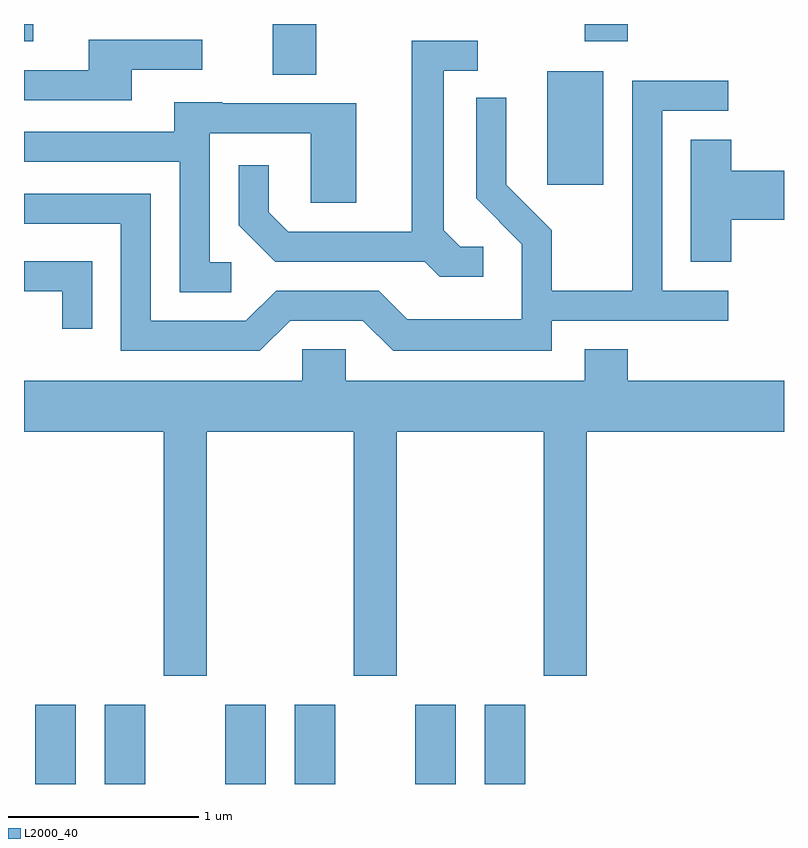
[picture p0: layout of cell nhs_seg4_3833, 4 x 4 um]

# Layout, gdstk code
import gdstk
lib = gdstk.Library(unit=1e-6, precision=1e-09)
def R(c, l, rs):  # rectangles x0, y0, x1, y1
    for r in rs: c.add(gdstk.rectangle(r[:2], r[2:], *l))
def P(c, l, *ps):  # polygons
    for p in ps: c.add(gdstk.Polygon(p, *l))
L2000_40 = (2000, 40)

nhs_seg4_3833 = lib.new_cell('nhs_seg4_3833')
R(nhs_seg4_3833, L2000_40, [(297.671,1303.982,297.884,1304.399), (298.036,1303.982,298.249,1304.399), (298.671,1303.982,298.884,1304.399), (299.036,1303.982,299.249,1304.399), (299.671,1303.982,299.884,1304.399), (300.036,1303.982,300.249,1304.399), (300.366,1307.136,300.659,1307.734), (298.921,1307.716,299.149,1307.982), (297.611,1307.891,297.659,1307.982), (300.561,1307.891,300.789,1307.982)])
P(nhs_seg4_3833, L2000_40, [(298.179,1307.741),(298.548,1307.741),(298.548,1307.899),(297.951,1307.899),(297.951,1307.739),(297.611,1307.739),(297.611,1307.581),(298.179,1307.581)],
  [(300.028,1306.809),(299.907,1306.809),(299.819,1306.897),(299.819,1307.736),(299.998,1307.736),(299.998,1307.894),(299.651,1307.894),(299.651,1306.889),(299.002,1306.889),(298.899,1306.992),(298.899,1307.238),(298.741,1307.238),(298.741,1306.924),(298.934,1306.731),(299.719,1306.731),(299.799,1306.651),(300.028,1306.651)],
  [(299.012,1306.421),(299.394,1306.421),(299.554,1306.261),(300.389,1306.261),(300.389,1306.421),(301.318,1306.421),(301.318,1306.579),(300.969,1306.579),(300.969,1307.526),(301.318,1307.526),(301.318,1307.684),(300.811,1307.684),(300.811,1306.579),(300.389,1306.579),(300.389,1306.897),(300.149,1307.137),(300.149,1307.593),(299.991,1307.593),(299.991,1307.064),(300.231,1306.824),(300.231,1306.429),(299.627,1306.429),(299.477,1306.579),(298.939,1306.579),(298.779,1306.419),(298.279,1306.419),(298.279,1307.089),(297.611,1307.089),(297.611,1306.931),(298.121,1306.931),(298.121,1306.261),(298.852,1306.261)],
  [(298.703,1306.729),(298.589,1306.729),(298.589,1307.406),(299.121,1307.406),(299.121,1307.041),(299.359,1307.041),(299.359,1307.564),(298.655,1307.564),(298.655,1307.569),(298.401,1307.569),(298.401,1307.414),(297.611,1307.414),(297.611,1307.256),(298.431,1307.256),(298.431,1306.571),(298.703,1306.571)],
  [(301.334,1306.951),(301.611,1306.951),(301.611,1307.209),(301.334,1307.209),(301.334,1307.374),(301.121,1307.374),(301.121,1306.731),(301.334,1306.731)],
  [(297.969,1306.734),(297.611,1306.734),(297.611,1306.576),(297.811,1306.576),(297.811,1306.378),(297.969,1306.378)],
  [(298.574,1305.836),(299.346,1305.836),(299.346,1304.551),(299.574,1304.551),(299.574,1305.836),(300.346,1305.836),(300.346,1304.551),(300.574,1304.551),(300.574,1305.836),(301.611,1305.836),(301.611,1306.104),(300.789,1306.104),(300.789,1306.269),(300.561,1306.269),(300.561,1306.104),(299.304,1306.104),(299.304,1306.269),(299.076,1306.269),(299.076,1306.104),(297.611,1306.104),(297.611,1305.836),(298.346,1305.836),(298.346,1304.551),(298.574,1304.551)])

lib.write_gds('nhs_seg4_3833.gds')
